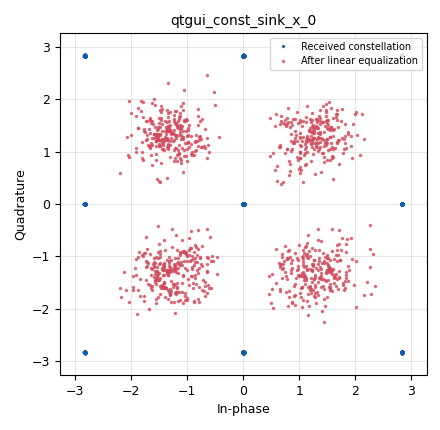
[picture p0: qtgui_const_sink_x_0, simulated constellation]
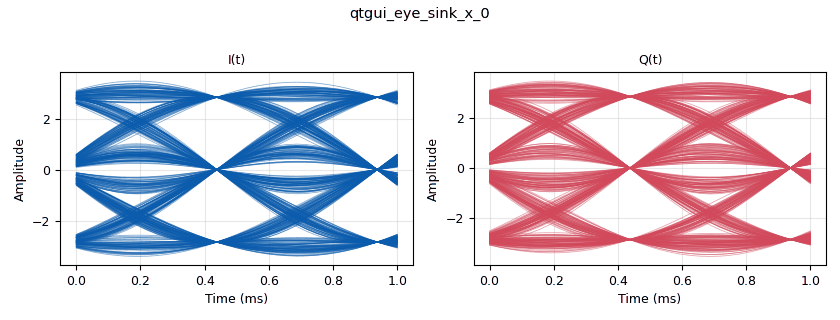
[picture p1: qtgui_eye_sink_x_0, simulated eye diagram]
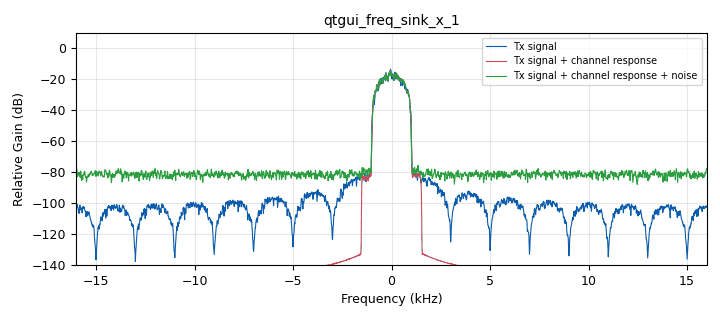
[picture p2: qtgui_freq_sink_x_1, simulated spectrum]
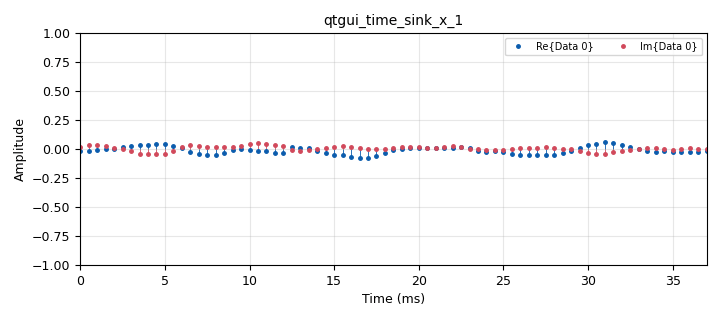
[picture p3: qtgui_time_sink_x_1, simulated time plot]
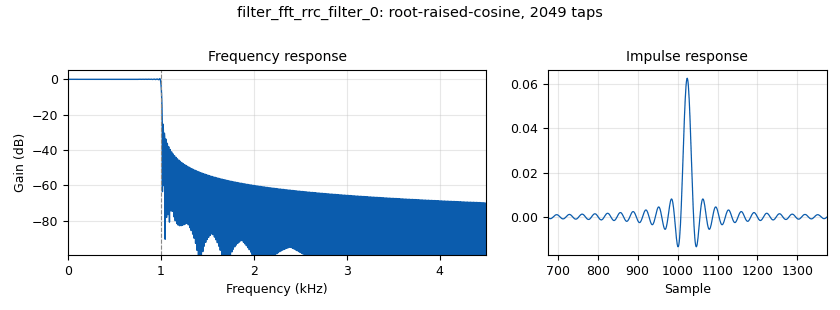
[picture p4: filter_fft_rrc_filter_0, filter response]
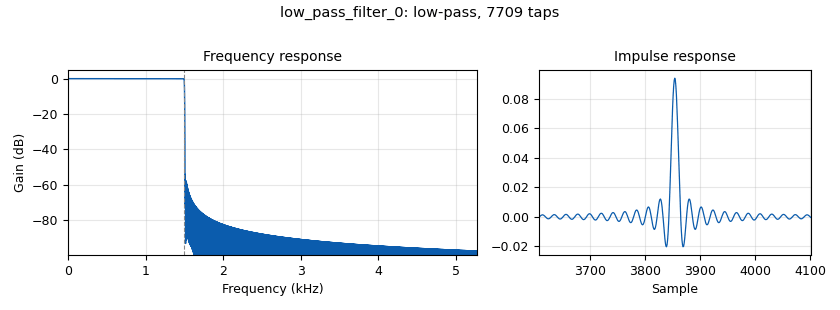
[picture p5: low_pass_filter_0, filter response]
options:
  parameters:
    author: Edson Porto da Silva
    generate_options: qt_gui
    id: simDuo
    output_language: python
    title: Transmission with doubinary
  states: {}

blocks:
- name: AdaptiveEqualizer
  id: variable_adaptive_algorithm
  parameters:
    cons: Constellation
    modulus: '8'
    step_size: '0.00005'
    type: lms
  states: {}
- name: Constellation
  id: variable_constellation
  parameters:
    precision: '8'
    type: qpsk
  states: {}
- name: SamplesPerSymbol
  id: variable
  parameters:
    value: '16'
  states: {}
- name: chBW
  id: variable_qtgui_range
  parameters:
    label: channel BW
    start: '10'
    step: '10'
    stop: samp_rate/2
    value: 0.75*samp_rate/SamplesPerSymbol
  states: {}
- name: delay
  id: variable_qtgui_range
  parameters:
    rangeType: int
    start: '0'
    step: '1'
    stop: '32'
    value: '2'
  states: {}
- name: noiseStd
  id: variable_qtgui_range
  parameters:
    label: Noise std
    start: '0'
    step: '0.01'
    stop: '10'
    value: '0.01'
  states: {}
- name: numTaps
  id: variable
  parameters:
    value: '75'
  states: {}
- name: preconv
  id: variable_adaptive_algorithm
  parameters:
    cons: Constellation
    modulus: '2'
    step_size: '0.005'
    type: cma
  states: {}
- name: rolloff
  id: variable
  parameters:
    value: '0.01'
  states: {}
- name: samp_rate
  id: variable
  parameters:
    value: '32000'
  states: {}
- name: analog_noise_source_x_0
  id: analog_noise_source_x
  parameters:
    amp: noiseStd
    noise_type: analog.GR_GAUSSIAN
    seed: '0'
    type: complex
  states: {}
- name: analog_random_source_x_0
  id: analog_random_source_x
  parameters:
    max: '256'
    min: '0'
    num_samps: '40000'
    repeat: 'True'
    type: byte
  states: {}
- name: blocks_add_xx_0
  id: blocks_add_xx
  parameters:
    type: complex
  states: {}
- name: blocks_add_xx_0_0
  id: blocks_add_xx
  parameters:
    type: complex
  states: {}
- name: blocks_delay_0
  id: blocks_delay
  parameters:
    delay: delay
    type: complex
  states: {}
- name: blocks_delay_0_0
  id: blocks_delay
  parameters:
    delay: SamplesPerSymbol
    type: complex
  states: {}
- name: blocks_delay_0_0_0
  id: blocks_delay
  parameters:
    delay: SamplesPerSymbol
    type: complex
  states: {state: disabled}
- name: blocks_multiply_const_vxx_0
  id: blocks_multiply_const_vxx
  parameters:
    const: '1'
    type: complex
  states: {}
- name: blocks_sub_xx_0
  id: blocks_sub_xx
  parameters:
    type: complex
  states: {state: disabled}
- name: blocks_vector_to_stream_0
  id: blocks_vector_to_stream
  parameters:
    num_items: numTaps
    type: complex
  states: {}
- name: channels_fading_model_0
  id: channels_fading_model
  parameters:
    K: '4.0'
    LOS: 'True'
    N: '64'
    fDTs: 0.005/samp_rate
    seed: '0'
  states: {state: bypassed}
- name: digital_constellation_modulator_0
  id: digital_constellation_modulator
  parameters:
    constellation: Constellation
    differential: 'False'
    excess_bw: rolloff
    samples_per_symbol: SamplesPerSymbol
  states: {}
- name: digital_linear_equalizer_0
  id: digital_linear_equalizer
  parameters:
    alg: AdaptiveEqualizer
    num_taps: numTaps
    sps: '1'
  states: {}
- name: filter_fft_rrc_filter_0
  id: filter_fft_rrc_filter
  parameters:
    alpha: rolloff
    decim: SamplesPerSymbol//2
    gain: '1'
    ntaps: '2048'
    samp_rate: samp_rate
    sym_rate: samp_rate//SamplesPerSymbol
    type: ccc
  states: {}
- name: filter_fft_rrc_filter_0_0
  id: filter_fft_rrc_filter
  parameters:
    alpha: rolloff
    decim: '1'
    gain: '1'
    ntaps: '2048'
    samp_rate: samp_rate
    sym_rate: samp_rate//SamplesPerSymbol
    type: ccc
  states: {}
- name: fir_filter_xxx_0
  id: fir_filter_xxx
  parameters:
    decim: '2'
    taps: '[1, 0]'
    type: ccc
  states: {}
- name: low_pass_filter_0
  id: low_pass_filter
  parameters:
    cutoff_freq: chBW
    decim: '1'
    gain: '1'
    samp_rate: samp_rate
    type: fir_filter_ccf
    width: '10'
    win: window.WIN_HAMMING
  states: {}
- name: qtgui_const_sink_x_0
  id: qtgui_const_sink_x
  parameters:
    autoscale: 'True'
    gui_hint: 2,3,2,3
    label1: Received constellation
    label2: After linear equalization
    nconnections: '2'
    size: '1024'
    type: complex
    xmax: '2.5'
    xmin: '-2.5'
    ymax: '2.5'
    ymin: '-2.5'
  states: {}
- name: qtgui_eye_sink_x_0
  id: qtgui_eye_sink_x
  parameters:
    autoscale: 'True'
    entags: 'False'
    gui_hint: 0,3,2,3
    label1: I(t)
    label2: Q(t)
    samp_per_symbol: SamplesPerSymbol
    size: 1024*16
    srate: samp_rate
    style1: '3'
    type: complex
    ymax: '2'
    ymin: '-2'
  states: {}
- name: qtgui_freq_sink_x_1
  id: qtgui_freq_sink_x
  parameters:
    average: '0.1'
    bw: samp_rate
    color2: '"black"'
    color3: '"red"'
    fc: '0'
    fftsize: '2048'
    gui_hint: 0,0,2,3
    label1: Tx signal
    label2: Tx signal + channel response
    label3: Tx signal + channel response + noise
    nconnections: '3'
    type: complex
    width1: '2'
    width2: '2'
    width3: '2'
  states: {}
- name: qtgui_time_sink_x_1
  id: qtgui_time_sink_x
  parameters:
    gui_hint: 2,0,2,3
    marker1: '0'
    marker2: '1'
    size: numTaps
    srate: samp_rate/SamplesPerSymbol
    stemplot: 'True'
    type: complex
  states: {}

connections:
- [analog_noise_source_x_0, '0', blocks_add_xx_0, '1']
- [analog_random_source_x_0, '0', digital_constellation_modulator_0, '0']
- [blocks_add_xx_0, '0', blocks_delay_0, '0']
- [blocks_add_xx_0, '0', filter_fft_rrc_filter_0_0, '0']
- [blocks_add_xx_0, '0', qtgui_freq_sink_x_1, '2']
- [blocks_add_xx_0_0, '0', low_pass_filter_0, '0']
- [blocks_add_xx_0_0, '0', qtgui_freq_sink_x_1, '0']
- [blocks_delay_0, '0', channels_fading_model_0, '0']
- [blocks_delay_0_0, '0', blocks_add_xx_0_0, '1']
- [blocks_delay_0_0, '0', blocks_delay_0_0_0, '0']
- [blocks_delay_0_0_0, '0', blocks_sub_xx_0, '1']
- [blocks_multiply_const_vxx_0, '0', qtgui_const_sink_x_0, '1']
- [blocks_sub_xx_0, '0', low_pass_filter_0, '0']
- [blocks_sub_xx_0, '0', qtgui_freq_sink_x_1, '0']
- [blocks_vector_to_stream_0, '0', qtgui_time_sink_x_1, '0']
- [channels_fading_model_0, '0', filter_fft_rrc_filter_0, '0']
- [digital_constellation_modulator_0, '0', blocks_add_xx_0_0, '0']
- [digital_constellation_modulator_0, '0', blocks_delay_0_0, '0']
- [digital_linear_equalizer_0, '0', blocks_multiply_const_vxx_0, '0']
- [digital_linear_equalizer_0, '1', blocks_vector_to_stream_0, '0']
- [filter_fft_rrc_filter_0, '0', fir_filter_xxx_0, '0']
- [filter_fft_rrc_filter_0_0, '0', qtgui_eye_sink_x_0, '0']
- [fir_filter_xxx_0, '0', digital_linear_equalizer_0, '0']
- [fir_filter_xxx_0, '0', qtgui_const_sink_x_0, '0']
- [low_pass_filter_0, '0', blocks_add_xx_0, '0']
- [low_pass_filter_0, '0', qtgui_freq_sink_x_1, '1']

metadata:
  file_format: 1
  grc_version: 3.10.6.0
